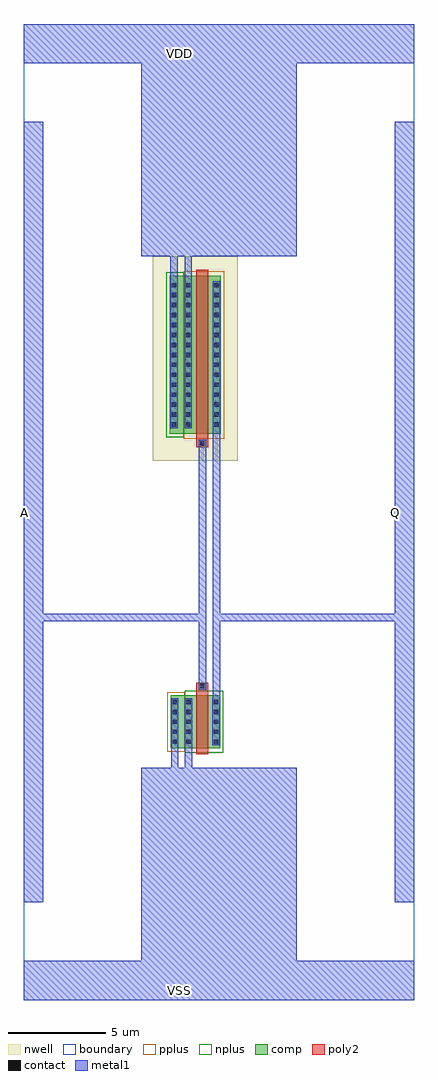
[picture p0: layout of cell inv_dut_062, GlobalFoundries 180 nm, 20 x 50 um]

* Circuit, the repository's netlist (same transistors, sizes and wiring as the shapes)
* inv_dut_062: pfet_03v3 W=8.10u L=0.60u / nfet_03v3 W=2.70u L=0.60u
.SUBCKT inv_dut_062 A Q VDD VSS
MMP Q A VDD VDD pfet_03v3 W=8.10u L=0.60u
MMN Q A VSS VSS nfet_03v3 W=2.70u L=0.60u
.ENDS

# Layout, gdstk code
import gdstk
lib = gdstk.Library(unit=1e-6, precision=1e-09)
def R(c, l, rs):  # rectangles x0, y0, x1, y1
    for r in rs: c.add(gdstk.rectangle(r[:2], r[2:], *l))
def A(c, l, x, y, w, h, nx, ny, dx, dy):  # array of equal rectangles
    R(c, l, [(x+i*dx, y+j*dy, x+i*dx+w, y+j*dy+h) for i in range(nx) for j in range(ny)])
boundary = (0, 0)
nwell = (21, 0)
comp = (22, 0)
poly2 = (30, 0)
pplus = (31, 0)
nplus = (32, 0)
contact = (33, 0)
metal1 = (34, 0)

inv_dut_062 = lib.new_cell('inv_dut_062')
R(inv_dut_062, boundary, [(-10,-25,10,25)])
R(inv_dut_062, nwell, [(-3.395,2.63,0.955,13.09)])
R(inv_dut_062, comp, [(-2.475,-12.1,0.055,-9.4), (-2.535,4,0.095,12.1)])
R(inv_dut_062, poly2, [(-1.155,-12.4,-0.555,-8.74), (-1.155,3.32,-0.555,12.4)])
R(inv_dut_062, pplus, [(-2.645,-12.27,-1.765,-9.23), (-1.805,3.76,0.265,12.34)])
R(inv_dut_062, nplus, [(-1.765,-12.34,0.225,-9.16), (-2.705,3.83,-1.805,12.27)])
A(inv_dut_062, contact, -2.375, -11.88, 0.22, 0.22, 1, 5, 0, 0.51)
A(inv_dut_062, contact, -1.665, -11.88, 0.22, 0.22, 1, 5, 0, 0.51)
A(inv_dut_062, contact, -0.265, -11.88, 0.22, 0.22, 1, 5, 0, 0.51)
A(inv_dut_062, contact, -2.415, 4.37, 0.22, 0.22, 1, 15, 0, 0.51)
A(inv_dut_062, contact, -1.685, 4.37, 0.22, 0.22, 1, 15, 0, 0.51)
A(inv_dut_062, contact, -0.245, 4.37, 0.22, 0.22, 1, 15, 0, 0.51)
R(inv_dut_062, contact, [(-0.965,-9.03,-0.745,-8.81), (-0.965,3.4,-0.745,3.62)])
R(inv_dut_062, metal1, [(-10,-25,10,-23), (-3.995,-23,3.995,-13.4), (-10,-20,-9,20), (9,-20,10,20), (-3.995,-13.7,3.995,-13.1), (-2.455,-13.7,-2.075,-9.54), (-1.745,-13.7,-1.365,-9.54), (-2.455,-11.96,-2.075,-9.54), (-1.745,-11.96,-1.365,-9.54), (-0.345,-11.96,0.035,-9.54), (-0.345,-9.92,0.055,-9.54), (-0.325,-9.92,0.055,4.67), (-1.045,-9.11,-0.665,3.7), (-1.045,-9.11,-0.665,-8.73), (-9,-5.6,-3.695,-5.2), (-3.995,-5.6,-0.665,-5.2), (-0.325,-5.6,3.995,-5.2), (3.695,-5.6,9,-5.2), (-1.045,3.32,-0.665,3.7), (-2.495,4.29,-2.115,13.7), (-2.495,4.29,-2.115,11.81), (-1.765,4.29,-1.385,13.7), (-1.765,4.29,-1.385,11.81), (-0.325,4.29,0.055,4.67), (-0.325,4.29,0.055,11.81), (-3.995,13.1,3.995,13.7), (-3.995,13.4,3.995,23), (-10,23,10,25)])
inv_dut_062.add(gdstk.Label('VDD', (-2,23.5), layer=34, texttype=10))
inv_dut_062.add(gdstk.Label('VSS', (-2,-24.5), layer=34, texttype=10))
inv_dut_062.add(gdstk.Label('A', (-9.97,0), layer=34, texttype=10))
inv_dut_062.add(gdstk.Label('Q', (9.03,0), layer=34, texttype=10))

lib.write_gds('inv_dut_062.gds')
